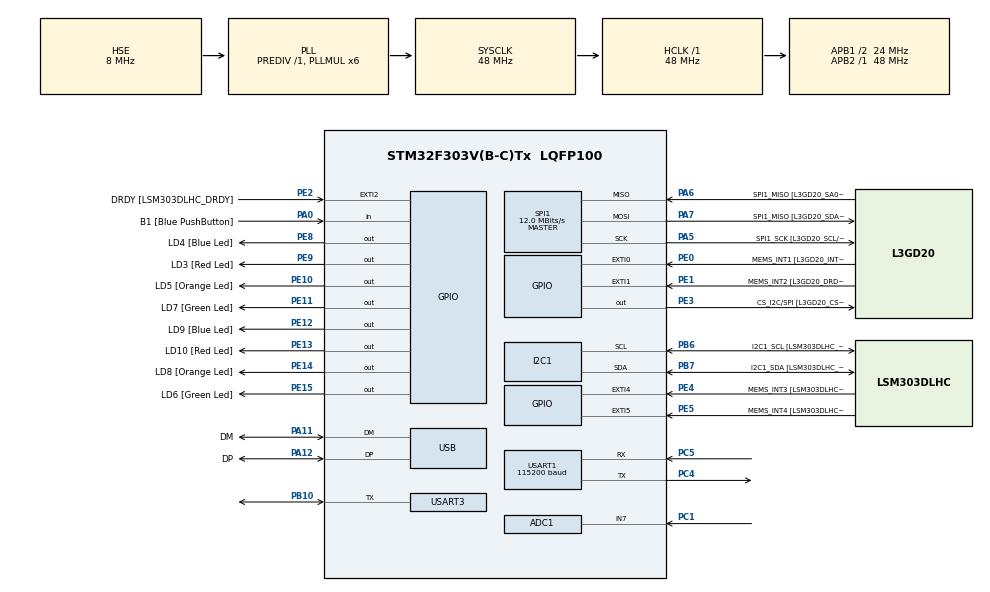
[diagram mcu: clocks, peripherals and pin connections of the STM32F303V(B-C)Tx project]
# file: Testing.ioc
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ADC1.Channel-0\#ChannelRegularConversion=ADC_CHANNEL_7
ADC1.NbrOfConversionFlag=1
ADC1.Offset-0\#ChannelRegularConversion=0
ADC1.OffsetNumber-0\#ChannelRegularConversion=ADC_OFFSET_NONE
ADC1.Rank-0\#ChannelRegularConversion=1
ADC1.SamplingTime-0\#ChannelRegularConversion=ADC_SAMPLETIME_2CYCLES_5
ADC1.master=1
Dma.Request0=USART3_TX
Dma.Request1=USART3_RX
Dma.USART3_RX.1.Direction=DMA_PERIPH_TO_MEMORY
Dma.USART3_RX.1.Instance=DMA1_Channel3
Dma.USART3_RX.1.MemDataAlignment=DMA_MDATAALIGN_BYTE
Dma.USART3_RX.1.MemInc=DMA_MINC_ENABLE
Dma.USART3_RX.1.Mode=DMA_NORMAL
Dma.USART3_RX.1.PeriphDataAlignment=DMA_PDATAALIGN_BYTE
Dma.USART3_RX.1.PeriphInc=DMA_PINC_DISABLE
Dma.USART3_RX.1.Priority=DMA_PRIORITY_LOW
Dma.USART3_TX.0.Direction=DMA_MEMORY_TO_PERIPH
Dma.USART3_TX.0.Instance=DMA1_Channel2
Dma.USART3_TX.0.MemDataAlignment=DMA_MDATAALIGN_BYTE
Dma.USART3_TX.0.MemInc=DMA_MINC_ENABLE
Dma.USART3_TX.0.Mode=DMA_NORMAL
Dma.USART3_TX.0.PeriphDataAlignment=DMA_PDATAALIGN_BYTE
Dma.USART3_TX.0.PeriphInc=DMA_PINC_DISABLE
Dma.USART3_TX.0.Priority=DMA_PRIORITY_LOW
I2C1.Timing-I2C=0x2000090E
Mcu.Family=STM32F3
Mcu.Name=STM32F303V(B-C)Tx
Mcu.Package=LQFP100
NVIC.ADC1_2_IRQn=true\:0\:0\:false\:false\:true\:true\:true
NVIC.DMA1_Channel2_IRQn=true\:0\:0\:false\:false\:true\:false\:true
NVIC.DMA1_Channel3_IRQn=true\:0\:0\:false\:false\:true\:false\:true
NVIC.PriorityGroup=NVIC_PRIORITYGROUP_0
NVIC.USART3_IRQn=true\:0\:0\:false\:false\:true\:true\:true
PA0.GPIO_Label=B1 [Blue PushButton]
PA0.Signal=GPIO_Input
PA11.GPIO_Label=DM
PA11.Mode=Device
PA11.Signal=USB_DM
PA12.GPIO_Label=DP
PA12.Mode=Device
PA12.Signal=USB_DP
PA13.GPIO_Label=SWDIO
PA13.Mode=Serial_Wire
PA13.Signal=SYS_JTMS-SWDIO
PA14.GPIO_Label=SWCLK
PA14.Mode=Serial_Wire
PA14.Signal=SYS_JTCK-SWCLK
PA5.GPIO_Label=SPI1_SCK [L3GD20_SCL/SPC]
PA5.Mode=Full_Duplex_Master
PA5.Signal=SPI1_SCK
PA6.GPIO_Label=SPI1_MISO [L3GD20_SA0/SDO]
PA6.Mode=Full_Duplex_Master
PA6.Signal=SPI1_MISO
PA7.GPIO_Label=SPI1_MISO [L3GD20_SDA/SDI/SDO]
PA7.Mode=Full_Duplex_Master
PA7.Signal=SPI1_MOSI
PB10.GPIO_ModeDefaultOD=GPIO_MODE_AF_OD
PB10.GPIO_PuPd=GPIO_NOPULL
PB10.Mode=Half_duplex(single_wire_mode)
PB10.Signal=USART3_TX
PB3.GPIO_Label=SWO
PB3.Signal=SYS_JTDO-TRACESWO
PB6.GPIO_Label=I2C1_SCL [LSM303DLHC_SCL]
PB6.Mode=I2C
PB6.Signal=I2C1_SCL
PB7.GPIO_Label=I2C1_SDA [LSM303DLHC_SDA]
PB7.Mode=I2C
PB7.Signal=I2C1_SDA
PC1.Signal=ADCx_IN7
PC14-OSC32_IN.GPIO_Label=OSC32_IN
PC14-OSC32_IN.Signal=RCC_OSC32_IN
PC15-OSC32_OUT.GPIO_Label=OSC32_OUT
PC15-OSC32_OUT.Signal=RCC_OSC32_OUT
PC4.Mode=Asynchronous
PC4.Signal=USART1_TX
PC5.Mode=Asynchronous
PC5.Signal=USART1_RX
PE0.GPIO_Label=MEMS_INT1 [L3GD20_INT1]
PE0.GPIO_ModeDefaultEXTI=GPIO_MODE_EVT_RISING
PE0.Signal=GPXTI0
PE1.GPIO_Label=MEMS_INT2 [L3GD20_DRDY/INT2]
PE1.GPIO_ModeDefaultEXTI=GPIO_MODE_EVT_RISING
PE1.Signal=GPXTI1
PE10.GPIO_Label=LD5 [Orange Led]
PE10.Signal=GPIO_Output
PE11.GPIO_Label=LD7 [Green Led]
PE11.Signal=GPIO_Output
PE12.GPIO_Label=LD9 [Blue Led]
PE12.Signal=GPIO_Output
PE13.GPIO_Label=LD10 [Red Led]
PE13.Signal=GPIO_Output
PE14.GPIO_Label=LD8 [Orange Led]
PE14.Signal=GPIO_Output
PE15.GPIO_Label=LD6 [Green Led]
PE15.Signal=GPIO_Output
PE2.GPIO_Label=DRDY [LSM303DLHC_DRDY]
PE2.GPIO_ModeDefaultEXTI=GPIO_MODE_EVT_RISING
PE2.Signal=GPXTI2
PE3.GPIO_Label=CS_I2C/SPI [L3GD20_CS_I2C/SPI]
PE3.Signal=GPIO_Output
PE4.GPIO_Label=MEMS_INT3 [LSM303DLHC_INT1]
PE4.GPIO_ModeDefaultEXTI=GPIO_MODE_EVT_RISING
PE4.Signal=GPXTI4
PE5.GPIO_Label=MEMS_INT4 [LSM303DLHC_INT2]
PE5.GPIO_ModeDefaultEXTI=GPIO_MODE_EVT_RISING
PE5.Signal=GPXTI5
PE8.GPIO_Label=LD4 [Blue Led]
PE8.Signal=GPIO_Output
PE9.GPIO_Label=LD3 [Red Led]
PE9.Signal=GPIO_Output
PF0-OSC_IN.GPIO_Label=OSC_IN
PF0-OSC_IN.Mode=HSE-External-Clock-Source
PF0-OSC_IN.Signal=RCC_OSC_IN
PF1-OSC_OUT.GPIO_Label=OSC_OUT
PF1-OSC_OUT.Signal=RCC_OSC_OUT
ProjectManager.HeapSize=0x200
ProjectManager.StackSize=0x400
ProjectManager.TargetToolchain=STM32CubeIDE
RCC.AHBFreq_Value=48000000
RCC.APB1CLKDivider=RCC_HCLK_DIV2
RCC.APB1Freq_Value=24000000
RCC.APB1TimFreq_Value=48000000
RCC.APB2Freq_Value=48000000
RCC.APB2TimFreq_Value=48000000
RCC.CortexFreq_Value=48000000
RCC.HCLKFreq_Value=48000000
RCC.HSE_VALUE=8000000
RCC.HSI_VALUE=8000000
RCC.LSE_VALUE=32768
RCC.PLLMUL=RCC_PLL_MUL6
RCC.SYSCLKFreq_VALUE=48000000
RCC.SYSCLKSourceVirtual=RCC_SYSCLKSOURCE_PLLCLK
RCC.USBFreq_Value=48000000
RCC.Usart1ClockSelection=RCC_USART1CLKSOURCE_SYSCLK
RCC.Usart3ClockSelection=RCC_USART3CLKSOURCE_SYSCLK
SH.ADCx_IN7.0=ADC1_IN7,IN7-Single-Ended
SPI1.BaudRatePrescaler=SPI_BAUDRATEPRESCALER_4
SPI1.BaudRatePrescaler-Full_Duplex_Master=SPI_BAUDRATEPRESCALER_2
SPI1.CalculateBaudRate=12.0 MBits/s
SPI1.CalculateBaudRate-Full_Duplex_Master=24.0 MBits/s
SPI1.Direction=SPI_DIRECTION_2LINES
SPI1.Mode=SPI_MODE_MASTER
SPI1.Mode-Full_Duplex_Master=SPI_MODE_MASTER
SPI1.VirtualType=VM_MASTER
USART1.BaudRate=115200
USART1.VirtualMode-Asynchronous=VM_ASYNC
USART3.BaudRate=115200
USART3.VirtualMode-Half_duplex(single_wire_mode)=VM_ASYNC
board=STM32F3DISCOVERY

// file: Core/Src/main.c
/* USER CODE BEGIN Header */
/**
  ******************************************************************************
  * @file           : main.c
  * @brief          : Main program body
  ******************************************************************************
  * @attention
  *
  * <h2><center>&copy; Copyright (c) 2020 STMicroelectronics.
  * All rights reserved.</center></h2>
  *
  * This software component is licensed by ST under BSD 3-Clause license,
  * the "License"; You may not use this file except in compliance with the
  * License. You may obtain a copy of the License at:
  *                        opensource.org/licenses/BSD-3-Clause
  *
  ******************************************************************************
  */
/* USER CODE END Header */

#include "main.h"

/* USER CODE BEGIN Includes */
#include "stdio.h"
#include "OneWire.h"
//#include "DallasTemperature.h"
/* USER CODE END Includes */

ADC_HandleTypeDef hadc1;

I2C_HandleTypeDef hi2c1;

SPI_HandleTypeDef hspi1;

UART_HandleTypeDef huart1;
UART_HandleTypeDef huart3;
DMA_HandleTypeDef hdma_usart3_tx;
DMA_HandleTypeDef hdma_usart3_rx;

PCD_HandleTypeDef hpcd_USB_FS;

/* USER CODE BEGIN PV */
char str[64] = {0};
//uint16_t adc = 0;
/* USER CODE END PV */

void SystemClock_Config(void);
static void MX_GPIO_Init(void);
static void MX_DMA_Init(void);
static void MX_ADC1_Init(void);
static void MX_I2C1_Init(void);
static void MX_SPI1_Init(void);
static void MX_USB_PCD_Init(void);
static void MX_USART1_UART_Init(void);
static void MX_USART3_UART_Init(void);
/* USER CODE BEGIN PFP */
int _write(int file, char *ptr, int len)
{
 HAL_UART_Transmit(&huart1, (uint8_t *) ptr, len, HAL_MAX_DELAY);
 return len;
}

// function to print a device address
/*void printAddress(CurrentDeviceAddress deviceAddress)
{
  for (uint8_t i = 0; i < 8; i++)
  {
 char buf[4];
 sprintf(buf, "%02X ", deviceAddress[i]);
 printf(buf);
  }
}*/
/* USER CODE END PFP */

int main(void)
{

  /* MCU Configuration--------------------------------------------------------*/

  /* Reset of all peripherals, Initializes the Flash interface and the Systick. */
  HAL_Init();

  /* Configure the system clock */
  SystemClock_Config();

  /* Initialize all configured peripherals */
  MX_GPIO_Init();
  MX_DMA_Init();
  MX_ADC1_Init();
  MX_I2C1_Init();
  MX_SPI1_Init();
  MX_USB_PCD_Init();
  MX_USART1_UART_Init();
  MX_USART3_UART_Init();
  /* USER CODE BEGIN 2 */
//  HAL_ADCEx_Calibration_Start(&hadc1,ADC_SINGLE_ENDED );
//  HAL_ADC_Start_IT(&hadc1);
  OW_Init();
  //
  //�?нициализация
  //
  printf( "Debug UART is OK! \r \n");
  if (OW_Reset()==OW_OK)
  {
	  printf ("One wire are present \r \n");
  }
  else
  {
	  printf ("Onewire no devices\r\n");
  }
 // CurrentDeviceAddress insideThermometer;

//

  int16_t atemp,btemp;
  int16_t temp;
  /* USER CODE END 2 */

  /* Infinite loop */
  /* USER CODE BEGIN WHILE */
  while (1)
  {
	  uint8_t scrach[8]= {0};

	  // call sensors.requestTemperatures() to issue a global temperature
	   // request to all devices on the bus
	   printf("Requesting temperatures...");
	   OW_Send(OW_SEND_RESET, (uint8_t *) "\xCC\x44", 2, (uint8_t *) NULL, 0, OW_NO_READ);
	   // Send the command to get temperatures
	   printf("DONE\r\n");
	   HAL_Delay(1000);
	   // After we got the temperatures, we can print them here.
	   // We use the function ByIndex, and as an example get the temperature from the first sensor only.
	          printf("Temperature for the device is: ");
	   OW_Send(OW_SEND_RESET, (uint8_t*) "\xCC\xBE\xFF\xFF\xFF\xFF\xFF\xFF\xFF\xFF", 10, scrach, 8, 2);
	   temp = (((uint16_t)scrach[0])|((uint16_t)scrach[1]<<8));
	   if (temp&0x8000)
	   {
		   printf ("-");
		   temp = !temp;
		   atemp = temp>>4;
		   btemp = (temp&0x000F)*10/16;
	   }
	   else
	   {
		   printf ("+");
		   atemp = temp>>4;
		   btemp = (temp&0x000F)*10/16;
	   }

	   sprintf(str, "%d.%d\r\n", atemp,btemp);
	   printf(str);
	   HAL_Delay(2000);
    /* USER CODE END WHILE */

  }
}

void SystemClock_Config(void)
{
  RCC_OscInitTypeDef RCC_OscInitStruct = {0};
  RCC_ClkInitTypeDef RCC_ClkInitStruct = {0};
  RCC_PeriphCLKInitTypeDef PeriphClkInit = {0};

  /** Initializes the CPU, AHB and APB busses clocks
  */
  RCC_OscInitStruct.OscillatorType = RCC_OSCILLATORTYPE_HSI|RCC_OSCILLATORTYPE_HSE;
  RCC_OscInitStruct.HSEState = RCC_HSE_BYPASS;
  RCC_OscInitStruct.HSEPredivValue = RCC_HSE_PREDIV_DIV1;
  RCC_OscInitStruct.HSIState = RCC_HSI_ON;
  RCC_OscInitStruct.HSICalibrationValue = RCC_HSICALIBRATION_DEFAULT;
  RCC_OscInitStruct.PLL.PLLState = RCC_PLL_ON;
  RCC_OscInitStruct.PLL.PLLSource = RCC_PLLSOURCE_HSE;
  RCC_OscInitStruct.PLL.PLLMUL = RCC_PLL_MUL6;
  if (HAL_RCC_OscConfig(&RCC_OscInitStruct) != HAL_OK)
  {
    Error_Handler();
  }
  /** Initializes the CPU, AHB and APB busses clocks
  */
  RCC_ClkInitStruct.ClockType = RCC_CLOCKTYPE_HCLK|RCC_CLOCKTYPE_SYSCLK
                              |RCC_CLOCKTYPE_PCLK1|RCC_CLOCKTYPE_PCLK2;
  RCC_ClkInitStruct.SYSCLKSource = RCC_SYSCLKSOURCE_PLLCLK;
  RCC_ClkInitStruct.AHBCLKDivider = RCC_SYSCLK_DIV1;
  RCC_ClkInitStruct.APB1CLKDivider = RCC_HCLK_DIV2;
  RCC_ClkInitStruct.APB2CLKDivider = RCC_HCLK_DIV1;

  if (HAL_RCC_ClockConfig(&RCC_ClkInitStruct, FLASH_LATENCY_1) != HAL_OK)
  {
    Error_Handler();
  }
  PeriphClkInit.PeriphClockSelection = RCC_PERIPHCLK_USB|RCC_PERIPHCLK_USART1
                              |RCC_PERIPHCLK_USART3|RCC_PERIPHCLK_I2C1
                              |RCC_PERIPHCLK_ADC12;
  PeriphClkInit.Usart1ClockSelection = RCC_USART1CLKSOURCE_SYSCLK;
  PeriphClkInit.Usart3ClockSelection = RCC_USART3CLKSOURCE_SYSCLK;
  PeriphClkInit.Adc12ClockSelection = RCC_ADC12PLLCLK_DIV1;
  PeriphClkInit.I2c1ClockSelection = RCC_I2C1CLKSOURCE_HSI;
  PeriphClkInit.USBClockSelection = RCC_USBCLKSOURCE_PLL;
  if (HAL_RCCEx_PeriphCLKConfig(&PeriphClkInit) != HAL_OK)
  {
    Error_Handler();
  }
}

static void MX_ADC1_Init(void)
{

  ADC_MultiModeTypeDef multimode = {0};
  ADC_ChannelConfTypeDef sConfig = {0};

  /** Common config
  */
  hadc1.Instance = ADC1;
  hadc1.Init.ClockPrescaler = ADC_CLOCK_ASYNC_DIV1;
  hadc1.Init.Resolution = ADC_RESOLUTION_12B;
  hadc1.Init.ScanConvMode = ADC_SCAN_DISABLE;
  hadc1.Init.ContinuousConvMode = DISABLE;
  hadc1.Init.DiscontinuousConvMode = DISABLE;
  hadc1.Init.ExternalTrigConvEdge = ADC_EXTERNALTRIGCONVEDGE_NONE;
  hadc1.Init.ExternalTrigConv = ADC_SOFTWARE_START;
  hadc1.Init.DataAlign = ADC_DATAALIGN_RIGHT;
  hadc1.Init.NbrOfConversion = 1;
  hadc1.Init.DMAContinuousRequests = DISABLE;
  hadc1.Init.EOCSelection = ADC_EOC_SINGLE_CONV;
  hadc1.Init.LowPowerAutoWait = DISABLE;
  hadc1.Init.Overrun = ADC_OVR_DATA_OVERWRITTEN;
  if (HAL_ADC_Init(&hadc1) != HAL_OK)
  {
    Error_Handler();
  }
  /** Configure the ADC multi-mode
  */
  multimode.Mode = ADC_MODE_INDEPENDENT;
  if (HAL_ADCEx_MultiModeConfigChannel(&hadc1, &multimode) != HAL_OK)
  {
    Error_Handler();
  }
  /** Configure Regular Channel
  */
  sConfig.Channel = ADC_CHANNEL_7;
  sConfig.Rank = ADC_REGULAR_RANK_1;
  sConfig.SingleDiff = ADC_SINGLE_ENDED;
  sConfig.SamplingTime = ADC_SAMPLETIME_2CYCLES_5;
  sConfig.OffsetNumber = ADC_OFFSET_NONE;
  sConfig.Offset = 0;
  if (HAL_ADC_ConfigChannel(&hadc1, &sConfig) != HAL_OK)
  {
    Error_Handler();
  }

}

static void MX_I2C1_Init(void)
{

  hi2c1.Instance = I2C1;
  hi2c1.Init.Timing = 0x2000090E;
  hi2c1.Init.OwnAddress1 = 0;
  hi2c1.Init.AddressingMode = I2C_ADDRESSINGMODE_7BIT;
  hi2c1.Init.DualAddressMode = I2C_DUALADDRESS_DISABLE;
  hi2c1.Init.OwnAddress2 = 0;
  hi2c1.Init.OwnAddress2Masks = I2C_OA2_NOMASK;
  hi2c1.Init.GeneralCallMode = I2C_GENERALCALL_DISABLE;
  hi2c1.Init.NoStretchMode = I2C_NOSTRETCH_DISABLE;
  if (HAL_I2C_Init(&hi2c1) != HAL_OK)
  {
    Error_Handler();
  }
  /** Configure Analogue filter
  */
  if (HAL_I2CEx_ConfigAnalogFilter(&hi2c1, I2C_ANALOGFILTER_ENABLE) != HAL_OK)
  {
    Error_Handler();
  }
  /** Configure Digital filter
  */
  if (HAL_I2CEx_ConfigDigitalFilter(&hi2c1, 0) != HAL_OK)
  {
    Error_Handler();
  }

}

static void MX_SPI1_Init(void)
{

  /* SPI1 parameter configuration*/
  hspi1.Instance = SPI1;
  hspi1.Init.Mode = SPI_MODE_MASTER;
  hspi1.Init.Direction = SPI_DIRECTION_2LINES;
  hspi1.Init.DataSize = SPI_DATASIZE_4BIT;
  hspi1.Init.CLKPolarity = SPI_POLARITY_LOW;
  hspi1.Init.CLKPhase = SPI_PHASE_1EDGE;
  hspi1.Init.NSS = SPI_NSS_SOFT;
  hspi1.Init.BaudRatePrescaler = SPI_BAUDRATEPRESCALER_4;
  hspi1.Init.FirstBit = SPI_FIRSTBIT_MSB;
  hspi1.Init.TIMode = SPI_TIMODE_DISABLE;
  hspi1.Init.CRCCalculation = SPI_CRCCALCULATION_DISABLE;
  hspi1.Init.CRCPolynomial = 7;
  hspi1.Init.CRCLength = SPI_CRC_LENGTH_DATASIZE;
  hspi1.Init.NSSPMode = SPI_NSS_PULSE_ENABLE;
  if (HAL_SPI_Init(&hspi1) != HAL_OK)
  {
    Error_Handler();
  }

}

static void MX_USART1_UART_Init(void)
{

  huart1.Instance = USART1;
  huart1.Init.BaudRate = 115200;
  huart1.Init.WordLength = UART_WORDLENGTH_8B;
  huart1.Init.StopBits = UART_STOPBITS_1;
  huart1.Init.Parity = UART_PARITY_NONE;
  huart1.Init.Mode = UART_MODE_TX_RX;
  huart1.Init.HwFlowCtl = UART_HWCONTROL_NONE;
  huart1.Init.OverSampling = UART_OVERSAMPLING_16;
  huart1.Init.OneBitSampling = UART_ONE_BIT_SAMPLE_DISABLE;
  huart1.AdvancedInit.AdvFeatureInit = UART_ADVFEATURE_NO_INIT;
  if (HAL_UART_Init(&huart1) != HAL_OK)
  {
    Error_Handler();
  }

}

static void MX_USART3_UART_Init(void)
{

  huart3.Instance = USART3;
  huart3.Init.BaudRate = 115200;
  huart3.Init.WordLength = UART_WORDLENGTH_8B;
  huart3.Init.StopBits = UART_STOPBITS_1;
  huart3.Init.Parity = UART_PARITY_NONE;
  huart3.Init.Mode = UART_MODE_TX_RX;
  huart3.Init.HwFlowCtl = UART_HWCONTROL_NONE;
  huart3.Init.OverSampling = UART_OVERSAMPLING_16;
  huart3.Init.OneBitSampling = UART_ONE_BIT_SAMPLE_DISABLE;
  huart3.AdvancedInit.AdvFeatureInit = UART_ADVFEATURE_NO_INIT;
  if (HAL_HalfDuplex_Init(&huart3) != HAL_OK)
  {
    Error_Handler();
  }

}

static void MX_USB_PCD_Init(void)
{

  hpcd_USB_FS.Instance = USB;
  hpcd_USB_FS.Init.dev_endpoints = 8;
  hpcd_USB_FS.Init.speed = PCD_SPEED_FULL;
  hpcd_USB_FS.Init.phy_itface = PCD_PHY_EMBEDDED;
  hpcd_USB_FS.Init.low_power_enable = DISABLE;
  hpcd_USB_FS.Init.battery_charging_enable = DISABLE;
  if (HAL_PCD_Init(&hpcd_USB_FS) != HAL_OK)
  {
    Error_Handler();
  }

}

static void MX_DMA_Init(void)
{

  /* DMA controller clock enable */
  __HAL_RCC_DMA1_CLK_ENABLE();

  /* DMA interrupt init */
  /* DMA1_Channel2_IRQn interrupt configuration */
  HAL_NVIC_SetPriority(DMA1_Channel2_IRQn, 0, 0);
  HAL_NVIC_EnableIRQ(DMA1_Channel2_IRQn);
  /* DMA1_Channel3_IRQn interrupt configuration */
  HAL_NVIC_SetPriority(DMA1_Channel3_IRQn, 0, 0);
  HAL_NVIC_EnableIRQ(DMA1_Channel3_IRQn);

}

static void MX_GPIO_Init(void)
{
  GPIO_InitTypeDef GPIO_InitStruct = {0};

  /* GPIO Ports Clock Enable */
  __HAL_RCC_GPIOE_CLK_ENABLE();
  __HAL_RCC_GPIOC_CLK_ENABLE();
  __HAL_RCC_GPIOF_CLK_ENABLE();
  __HAL_RCC_GPIOA_CLK_ENABLE();
  __HAL_RCC_GPIOB_CLK_ENABLE();

  /*Configure GPIO pin Output Level */
  HAL_GPIO_WritePin(GPIOE, CS_I2C_SPI_Pin|LD4_Pin|LD3_Pin|LD5_Pin
                          |LD7_Pin|LD9_Pin|LD10_Pin|LD8_Pin
                          |LD6_Pin, GPIO_PIN_RESET);

  /*Configure GPIO pins : DRDY_Pin MEMS_INT3_Pin MEMS_INT4_Pin MEMS_INT1_Pin
                           MEMS_INT2_Pin */
  GPIO_InitStruct.Pin = DRDY_Pin|MEMS_INT3_Pin|MEMS_INT4_Pin|MEMS_INT1_Pin
                          |MEMS_INT2_Pin;
  GPIO_InitStruct.Mode = GPIO_MODE_EVT_RISING;
  GPIO_InitStruct.Pull = GPIO_NOPULL;
  HAL_GPIO_Init(GPIOE, &GPIO_InitStruct);

  /*Configure GPIO pins : CS_I2C_SPI_Pin LD4_Pin LD3_Pin LD5_Pin
                           LD7_Pin LD9_Pin LD10_Pin LD8_Pin
                           LD6_Pin */
  GPIO_InitStruct.Pin = CS_I2C_SPI_Pin|LD4_Pin|LD3_Pin|LD5_Pin
                          |LD7_Pin|LD9_Pin|LD10_Pin|LD8_Pin
                          |LD6_Pin;
  GPIO_InitStruct.Mode = GPIO_MODE_OUTPUT_PP;
  GPIO_InitStruct.Pull = GPIO_NOPULL;
  GPIO_InitStruct.Speed = GPIO_SPEED_FREQ_LOW;
  HAL_GPIO_Init(GPIOE, &GPIO_InitStruct);

  /*Configure GPIO pin : B1_Pin */
  GPIO_InitStruct.Pin = B1_Pin;
  GPIO_InitStruct.Mode = GPIO_MODE_INPUT;
  GPIO_InitStruct.Pull = GPIO_NOPULL;
  HAL_GPIO_Init(B1_GPIO_Port, &GPIO_InitStruct);

}

/* USER CODE BEGIN 4 */
int __io_putchar(int ch)
{
	ITM_SendChar(ch);
return ch;
}
/* USER CODE END 4 */

void Error_Handler(void)
{
}

/************************ (C) COPYRIGHT STMicroelectronics *****END OF FILE****/
